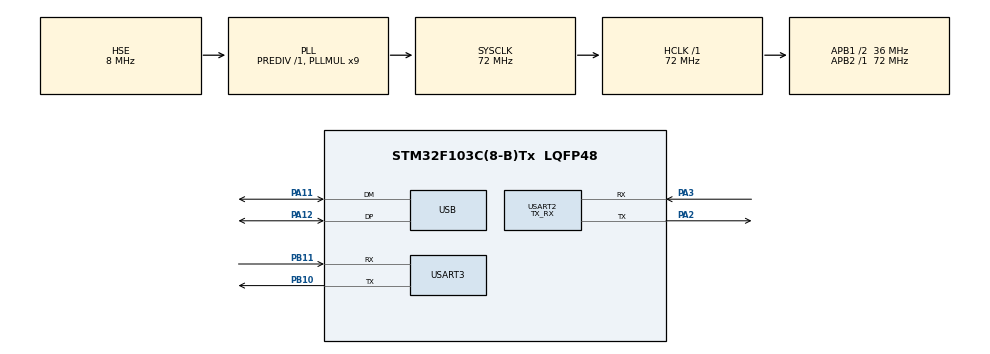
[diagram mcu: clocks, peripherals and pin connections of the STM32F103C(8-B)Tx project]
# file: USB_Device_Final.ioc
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Mcu.Family=STM32F1
Mcu.Name=STM32F103C(8-B)Tx
Mcu.Package=LQFP48
NVIC.PriorityGroup=NVIC_PRIORITYGROUP_4
NVIC.USART2_IRQn=true\:0\:0\:false\:false\:true\:true\:true\:true
NVIC.USART3_IRQn=true\:0\:0\:false\:false\:true\:true\:true\:true
NVIC.USB_LP_CAN1_RX0_IRQn=true\:0\:0\:false\:false\:true\:false\:true\:true
PA11.Mode=Device
PA11.Signal=USB_DM
PA12.Mode=Device
PA12.Signal=USB_DP
PA13.Mode=Serial_Wire
PA13.Signal=SYS_JTMS-SWDIO
PA14.Mode=Serial_Wire
PA14.Signal=SYS_JTCK-SWCLK
PA2.Mode=Asynchronous
PA2.Signal=USART2_TX
PA3.Mode=Asynchronous
PA3.Signal=USART2_RX
PB10.Mode=Asynchronous
PB10.Signal=USART3_TX
PB11.Mode=Asynchronous
PB11.Signal=USART3_RX
PD0-OSC_IN.Mode=HSE-External-Oscillator
PD0-OSC_IN.Signal=RCC_OSC_IN
PD1-OSC_OUT.Mode=HSE-External-Oscillator
PD1-OSC_OUT.Signal=RCC_OSC_OUT
ProjectManager.HeapSize=0x2000
ProjectManager.StackSize=0x2000
ProjectManager.TargetToolchain=STM32CubeIDE
RCC.AHBFreq_Value=72000000
RCC.APB1CLKDivider=RCC_HCLK_DIV2
RCC.APB1Freq_Value=36000000
RCC.APB1TimFreq_Value=72000000
RCC.APB2Freq_Value=72000000
RCC.APB2TimFreq_Value=72000000
RCC.HCLKFreq_Value=72000000
RCC.PLLMUL=RCC_PLL_MUL9
RCC.SYSCLKFreq_VALUE=72000000
RCC.SYSCLKSource=RCC_SYSCLKSOURCE_PLLCLK
RCC.USBFreq_Value=48000000
RCC.USBPrescaler=RCC_USBCLKSOURCE_PLL_DIV1_5
USART2.Mode=MODE_TX_RX
USART2.VirtualMode=VM_ASYNC
USART3.VirtualMode=VM_ASYNC
USB_DEVICE.CLASS_NAME_FS=HID
USB_DEVICE.VirtualMode=Hid
USB_DEVICE.VirtualModeFS=Hid_FS
VP_USB_DEVICE_VS_USB_DEVICE_HID_FS.Mode=HID_FS
board=custom

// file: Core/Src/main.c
/* USER CODE BEGIN Header */
/**
  ******************************************************************************
  * @file           : main.c
  * @brief          : Main program body
  ******************************************************************************
  * @attention
  *
  * Copyright (c) 2024 STMicroelectronics.
  * All rights reserved.
  *
  * This software is licensed under terms that can be found in the LICENSE file
  * in the root directory of this software component.
  * If no LICENSE file comes with this software, it is provided AS-IS.
  *
  ******************************************************************************
  */
/* USER CODE END Header */
#include "main.h"
#include "usart.h"
#include "usb_device.h"
#include "gpio.h"

/* USER CODE BEGIN Includes */
#include <stdio.h>
#include "usbd_hid.h"
#include <stdint.h>
/* USER CODE END Includes */

/* USER CODE BEGIN PTD */
typedef struct
{
  uint8_t state;
  uint8_t lctrl;
  uint8_t lshift;
  uint8_t lalt;
  uint8_t lgui;
  uint8_t rctrl;
  uint8_t rshift;
  uint8_t ralt;
  uint8_t rgui;
  uint8_t keys[6];
}
HID_KEYBD_Info_TypeDef;

typedef struct
{
	uint8_t MODIFIER;
	uint8_t RESERVED;
	uint8_t KEYCODE1;
	uint8_t KEYCODE2;
	uint8_t KEYCODE3;
	uint8_t KEYCODE4;
	uint8_t KEYCODE5;
	uint8_t KEYCODE6;
} keyboardHID;

/* USER CODE END PTD */

/* USER CODE BEGIN PV */
HID_KEYBD_Info_TypeDef keyboardInfo = {0,0,0,0,0,0,0,0,0,0};
keyboardHID keyboardhid = {0,0,0,0,0,0,0,0};
uint8_t uartBuffer[sizeof(HID_KEYBD_Info_TypeDef)];
uint8_t KeyInjectionUartBuffer[sizeof(keyboardHID)];
keyboardHID KeyInjectionHID;

/* USER CODE END PV */

void SystemClock_Config(void);
/* USER CODE BEGIN PFP */
void ConvertToKeyboardHID(const HID_KEYBD_Info_TypeDef *hostData, keyboardHID *deviceData);
void ReadUARTtoHIDInfo(UART_HandleTypeDef *huart);
/* USER CODE END PFP */

/* USER CODE BEGIN 0 */
extern USBD_HandleTypeDef hUsbDeviceFS;
/* USER CODE END 0 */

int main(void)
{

  /* MCU Configuration--------------------------------------------------------*/

  /* Reset of all peripherals, Initializes the Flash interface and the Systick. */
  HAL_Init();

  /* Configure the system clock */
  SystemClock_Config();

  /* Initialize all configured peripherals */
  MX_GPIO_Init();
  MX_USB_DEVICE_Init();
  MX_USART2_UART_Init();
  MX_USART3_UART_Init();
  /* USER CODE BEGIN 2 */
  HAL_UART_Receive_IT(&huart3, uartBuffer, sizeof(uartBuffer));
  HAL_UART_Receive_IT(&huart2, KeyInjectionUartBuffer, sizeof(KeyInjectionUartBuffer));
  printf("Started");
  /* USER CODE END 2 */

  /* Infinite loop */
  while (1)
  {

  }
}

void SystemClock_Config(void)
{
  RCC_OscInitTypeDef RCC_OscInitStruct = {0};
  RCC_ClkInitTypeDef RCC_ClkInitStruct = {0};
  RCC_PeriphCLKInitTypeDef PeriphClkInit = {0};

  /** Initializes the RCC Oscillators according to the specified parameters
  * in the RCC_OscInitTypeDef structure.
  */
  RCC_OscInitStruct.OscillatorType = RCC_OSCILLATORTYPE_HSE;
  RCC_OscInitStruct.HSEState = RCC_HSE_ON;
  RCC_OscInitStruct.HSEPredivValue = RCC_HSE_PREDIV_DIV1;
  RCC_OscInitStruct.HSIState = RCC_HSI_ON;
  RCC_OscInitStruct.PLL.PLLState = RCC_PLL_ON;
  RCC_OscInitStruct.PLL.PLLSource = RCC_PLLSOURCE_HSE;
  RCC_OscInitStruct.PLL.PLLMUL = RCC_PLL_MUL9;
  if (HAL_RCC_OscConfig(&RCC_OscInitStruct) != HAL_OK)
  {
    Error_Handler();
  }

  /** Initializes the CPU, AHB and APB buses clocks
  */
  RCC_ClkInitStruct.ClockType = RCC_CLOCKTYPE_HCLK|RCC_CLOCKTYPE_SYSCLK
                              |RCC_CLOCKTYPE_PCLK1|RCC_CLOCKTYPE_PCLK2;
  RCC_ClkInitStruct.SYSCLKSource = RCC_SYSCLKSOURCE_PLLCLK;
  RCC_ClkInitStruct.AHBCLKDivider = RCC_SYSCLK_DIV1;
  RCC_ClkInitStruct.APB1CLKDivider = RCC_HCLK_DIV2;
  RCC_ClkInitStruct.APB2CLKDivider = RCC_HCLK_DIV1;

  if (HAL_RCC_ClockConfig(&RCC_ClkInitStruct, FLASH_LATENCY_2) != HAL_OK)
  {
    Error_Handler();
  }
  PeriphClkInit.PeriphClockSelection = RCC_PERIPHCLK_USB;
  PeriphClkInit.UsbClockSelection = RCC_USBCLKSOURCE_PLL_DIV1_5;
  if (HAL_RCCEx_PeriphCLKConfig(&PeriphClkInit) != HAL_OK)
  {
    Error_Handler();
  }
}

/* USER CODE BEGIN 4 */

void ReadUARTtoHIDInfo(UART_HandleTypeDef *huart) {
   // HAL_UART_Receive(huart, uartBuffer, sizeof(uartBuffer), HAL_MAX_DELAY);
    memcpy(&keyboardInfo, uartBuffer, sizeof(HID_KEYBD_Info_TypeDef));
    // Convert the data
    ConvertToKeyboardHID(&keyboardInfo, &keyboardhid);
    // Send the converted data
    USBD_HID_SendReport(&hUsbDeviceFS, &keyboardhid, sizeof (keyboardhid));
   char massage[] = "Key recived";
   HAL_UART_Transmit(&huart3, massage, sizeof(massage), HAL_MAX_DELAY);

    //HAL_UART_Transmit(&huart3, uartBuffer, sizeof(uartBuffer), HAL_MAX_DELAY);
}

void ConvertToKeyboardHID(const HID_KEYBD_Info_TypeDef *hostData, keyboardHID *deviceData) {
    // Clear the deviceData struct
    *deviceData = (keyboardHID){0};

    // Set the MODIFIER byte
    deviceData->MODIFIER = (hostData->lctrl ? 0x01 : 0) |
                           (hostData->lshift ? 0x02 : 0) |
                           (hostData->lalt ? 0x04 : 0) |
                           (hostData->lgui ? 0x08 : 0) |
                           (hostData->rctrl ? 0x10 : 0) |
                           (hostData->rshift ? 0x20 : 0) |
                           (hostData->ralt ? 0x40 : 0) |
                           (hostData->rgui ? 0x80 : 0);

    // RESERVED byte is typically set to 0
    deviceData->RESERVED = 0;

    // Copy the keys
    if (hostData->keys[0]) deviceData->KEYCODE1 = hostData->keys[0];
    if (hostData->keys[1]) deviceData->KEYCODE2 = hostData->keys[1];
    if (hostData->keys[2]) deviceData->KEYCODE3 = hostData->keys[2];
    if (hostData->keys[3]) deviceData->KEYCODE4 = hostData->keys[3];
    if (hostData->keys[4]) deviceData->KEYCODE5 = hostData->keys[4];
    if (hostData->keys[5]) deviceData->KEYCODE6 = hostData->keys[5];
}

//
void HAL_UART_RxCpltCallback(UART_HandleTypeDef *huart)
{
    // Check if the callback comes from UART3
    if(huart->Instance == USART3)
    {
        memcpy(&keyboardInfo, uartBuffer, sizeof(HID_KEYBD_Info_TypeDef));
        ConvertToKeyboardHID(&keyboardInfo, &keyboardhid);
        USBD_HID_SendReport(&hUsbDeviceFS, &keyboardhid, sizeof(keyboardhid));
        HAL_UART_Transmit(&huart3, uartBuffer, sizeof(uartBuffer), HAL_MAX_DELAY);
        HAL_UART_Receive_IT(&huart3, uartBuffer, sizeof(uartBuffer));
    }
    if(huart->Instance == USART2)
    {
        memcpy(&KeyInjectionHID, KeyInjectionUartBuffer, sizeof(keyboardHID));
    	USBD_HID_SendReport(&hUsbDeviceFS, &KeyInjectionHID, sizeof (uartBuffer));
    	HAL_UART_Receive_IT(&huart2, KeyInjectionUartBuffer, sizeof(KeyInjectionUartBuffer));
    }

}

/* USER CODE END 4 */

void Error_Handler(void)
{
  __disable_irq();
  while (1)
  {
  }
}
